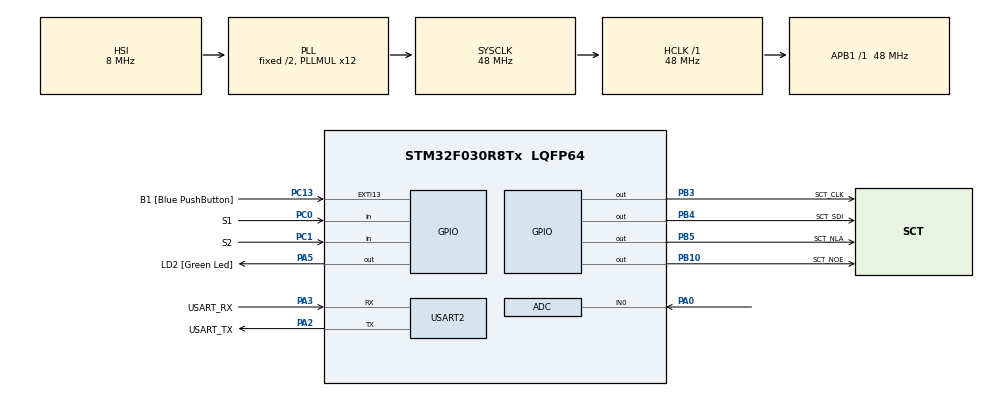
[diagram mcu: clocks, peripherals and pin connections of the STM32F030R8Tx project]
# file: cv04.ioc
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ADC.ContinuousConvMode=ENABLE
ADC.Overrun=ADC_OVR_DATA_OVERWRITTEN
ADC.SamplingTime=ADC_SAMPLETIME_239CYCLES_5
Mcu.Family=STM32F0
Mcu.Name=STM32F030R8Tx
Mcu.Package=LQFP64
NVIC.ADC1_IRQn=true\:0\:0\:false\:false\:true\:true\:true\:true
PA0.Mode=IN0
PA0.Signal=ADC_IN0
PA13.GPIO_Label=TMS
PA13.Mode=Serial_Wire
PA13.Signal=SYS_SWDIO
PA14.GPIO_Label=TCK
PA14.Mode=Serial_Wire
PA14.Signal=SYS_SWCLK
PA2.GPIO_Label=USART_TX
PA2.GPIO_Mode=GPIO_MODE_AF_PP
PA2.GPIO_PuPd=GPIO_NOPULL
PA2.GPIO_Speed=GPIO_SPEED_FREQ_LOW
PA2.Mode=Asynchronous
PA2.Signal=USART2_TX
PA3.GPIO_Label=USART_RX
PA3.GPIO_Mode=GPIO_MODE_AF_PP
PA3.GPIO_PuPd=GPIO_NOPULL
PA3.GPIO_Speed=GPIO_SPEED_FREQ_LOW
PA3.Mode=Asynchronous
PA3.Signal=USART2_RX
PA5.GPIO_Label=LD2 [Green Led]
PA5.GPIO_Mode=GPIO_MODE_OUTPUT_PP
PA5.GPIO_PuPd=GPIO_NOPULL
PA5.GPIO_Speed=GPIO_SPEED_FREQ_LOW
PA5.Signal=GPIO_Output
PB10.GPIO_Label=SCT_NOE
PB10.Signal=GPIO_Output
PB3.GPIO_Label=SCT_CLK
PB3.Signal=GPIO_Output
PB4.GPIO_Label=SCT_SDI
PB4.Signal=GPIO_Output
PB5.GPIO_Label=SCT_NLA
PB5.Signal=GPIO_Output
PC0.GPIO_Label=S1
PC0.GPIO_PuPd=GPIO_PULLUP
PC0.Signal=GPIO_Input
PC1.GPIO_Label=S2
PC1.GPIO_PuPd=GPIO_PULLUP
PC1.Signal=GPIO_Input
PC13.GPIO_Label=B1 [Blue PushButton]
PC13.GPIO_ModeDefaultEXTI=GPIO_MODE_IT_FALLING
PC13.Signal=GPXTI13
PC14-OSC32_IN.Mode=LSE-External-Oscillator
PC14-OSC32_IN.Signal=RCC_OSC32_IN
PC15-OSC32_OUT.Mode=LSE-External-Oscillator
PC15-OSC32_OUT.Signal=RCC_OSC32_OUT
PF0-OSC_IN.Mode=HSE-External-Clock-Source
PF0-OSC_IN.Signal=RCC_OSC_IN
PF1-OSC_OUT.Signal=RCC_OSC_OUT
ProjectManager.HeapSize=0x200
ProjectManager.StackSize=0x400
ProjectManager.TargetToolchain=STM32CubeIDE
RCC.AHBFreq_Value=48000000
RCC.APB1Freq_Value=48000000
RCC.APB1TimFreq_Value=48000000
RCC.HCLKFreq_Value=48000000
RCC.PLLMUL=RCC_PLL_MUL12
RCC.SYSCLKFreq_VALUE=48000000
RCC.SYSCLKSource=RCC_SYSCLKSOURCE_PLLCLK
USART2.VirtualMode-Asynchronous=VM_ASYNC
VP_ADC_TempSens_Input.Mode=IN-TempSens
VP_ADC_Vref_Input.Mode=IN-Vrefint
board=NUCLEO-F030R8

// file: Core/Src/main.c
/* USER CODE BEGIN Header */
/**
 ******************************************************************************
 * @file           : main.c
 * @brief          : Main program body
 ******************************************************************************
 * @attention
 *
 * Copyright (c) 2022 STMicroelectronics.
 * All rights reserved.
 *
 * This software is licensed under terms that can be found in the LICENSE file
 * in the root directory of this software component.
 * If no LICENSE file comes with this software, it is provided AS-IS.
 *
 ******************************************************************************
 */
/* USER CODE END Header */
#include "main.h"

/* USER CODE BEGIN Includes */
#include "sct.h"
/* USER CODE END Includes */

/* USER CODE BEGIN PD */
#define ADC_Q 12

/* Temperature sensor calibration value address */
#define TEMP110_CAL_ADDR ((uint16_t*) ((uint32_t) 0x1FFFF7C2))
#define TEMP30_CAL_ADDR ((uint16_t*) ((uint32_t) 0x1FFFF7B8))

/* Internal voltage reference calibration value address */
#define VREFINT_CAL_ADDR ((uint16_t*) ((uint32_t) 0x1FFFF7BA))

/* USER CODE END PD */

ADC_HandleTypeDef hadc;

UART_HandleTypeDef huart2;

void SystemClock_Config(void);
static void MX_GPIO_Init(void);
static void MX_USART2_UART_Init(void);
static void MX_ADC_Init(void);

/* USER CODE BEGIN 0 */
static volatile uint32_t raw_pot;
static volatile uint32_t raw_temp;
static volatile uint32_t raw_volt;
void HAL_ADC_ConvCpltCallback(ADC_HandleTypeDef* hadc)
{
//	raw_pot = HAL_ADC_GetValue(hadc);
	static uint32_t avg_pot = 0;
	static uint32_t channel;
	if (channel == 0){
		raw_pot = avg_pot >> ADC_Q;
		avg_pot -= raw_pot;
		avg_pot += HAL_ADC_GetValue(hadc);
	}
	else if (channel == 1){
		raw_temp = HAL_ADC_GetValue(hadc);
	}
	else if (channel == 2){
		raw_volt = HAL_ADC_GetValue(hadc);
	}
	if (__HAL_ADC_GET_FLAG(hadc, ADC_FLAG_EOS)) channel = 0;
	else channel++;

}
/* USER CODE END 0 */

int main(void)
{

	/* MCU Configuration--------------------------------------------------------*/

	/* Reset of all peripherals, Initializes the Flash interface and the Systick. */
	HAL_Init();

	/* Configure the system clock */
	SystemClock_Config();

	/* Initialize all configured peripherals */
	MX_GPIO_Init();
	MX_USART2_UART_Init();
	MX_ADC_Init();
	/* USER CODE BEGIN 2 */
	sct_init();
	HAL_ADCEx_Calibration_Start(&hadc);
	HAL_ADC_Start_IT(&hadc);

	/* USER CODE END 2 */

	/* Infinite loop */
	while (1)
	{

		/* USER CODE BEGIN 3 */
		/*
		sct_value((raw_pot*501/4096), (raw_pot*9/4096));
		HAL_Delay(50);
		 */
		static enum { SHOW_POT, SHOW_VOLT, SHOW_TEMP } state = SHOW_POT;

		if (HAL_GPIO_ReadPin(S1_GPIO_Port, S1_Pin)==0) {
			state = SHOW_VOLT;
		}
		if (HAL_GPIO_ReadPin(S2_GPIO_Port, S2_Pin)==0) {
			state = SHOW_TEMP;
		}

		switch (state) {
		case SHOW_POT: {
			sct_value((raw_pot*501/4096), (raw_pot*9/4096));

			break;
		}
		case SHOW_VOLT: {

			uint32_t voltage = 330 * (*VREFINT_CAL_ADDR) / raw_volt;

			sct_value(voltage, 1);
			break;
		}
		case SHOW_TEMP: {

			int32_t temperature = (raw_temp - (int32_t)(*TEMP30_CAL_ADDR));

			temperature = temperature * (int32_t)(110 - 30);
			temperature = temperature / (int32_t)(*TEMP110_CAL_ADDR - *TEMP30_CAL_ADDR);
			temperature = temperature + 30;

			sct_value(temperature, 2);
			break;
		}
		default:;

		}
		HAL_Delay(50);
		/* USER CODE END 3 */
	}
}

void SystemClock_Config(void)
{
	RCC_OscInitTypeDef RCC_OscInitStruct = {0};
	RCC_ClkInitTypeDef RCC_ClkInitStruct = {0};

	/** Initializes the RCC Oscillators according to the specified parameters
	 * in the RCC_OscInitTypeDef structure.
	 */
	RCC_OscInitStruct.OscillatorType = RCC_OSCILLATORTYPE_HSI|RCC_OSCILLATORTYPE_HSI14;
	RCC_OscInitStruct.HSIState = RCC_HSI_ON;
	RCC_OscInitStruct.HSI14State = RCC_HSI14_ON;
	RCC_OscInitStruct.HSICalibrationValue = RCC_HSICALIBRATION_DEFAULT;
	RCC_OscInitStruct.HSI14CalibrationValue = 16;
	RCC_OscInitStruct.PLL.PLLState = RCC_PLL_ON;
	RCC_OscInitStruct.PLL.PLLSource = RCC_PLLSOURCE_HSI;
	RCC_OscInitStruct.PLL.PLLMUL = RCC_PLL_MUL12;
	RCC_OscInitStruct.PLL.PREDIV = RCC_PREDIV_DIV1;
	if (HAL_RCC_OscConfig(&RCC_OscInitStruct) != HAL_OK)
	{
		Error_Handler();
	}

	/** Initializes the CPU, AHB and APB buses clocks
	 */
	RCC_ClkInitStruct.ClockType = RCC_CLOCKTYPE_HCLK|RCC_CLOCKTYPE_SYSCLK
			|RCC_CLOCKTYPE_PCLK1;
	RCC_ClkInitStruct.SYSCLKSource = RCC_SYSCLKSOURCE_PLLCLK;
	RCC_ClkInitStruct.AHBCLKDivider = RCC_SYSCLK_DIV1;
	RCC_ClkInitStruct.APB1CLKDivider = RCC_HCLK_DIV1;

	if (HAL_RCC_ClockConfig(&RCC_ClkInitStruct, FLASH_LATENCY_1) != HAL_OK)
	{
		Error_Handler();
	}
}

static void MX_ADC_Init(void)
{

	ADC_ChannelConfTypeDef sConfig = {0};

	/** Configure the global features of the ADC (Clock, Resolution, Data Alignment and number of conversion)
	 */
	hadc.Instance = ADC1;
	hadc.Init.ClockPrescaler = ADC_CLOCK_ASYNC_DIV1;
	hadc.Init.Resolution = ADC_RESOLUTION_12B;
	hadc.Init.DataAlign = ADC_DATAALIGN_RIGHT;
	hadc.Init.ScanConvMode = ADC_SCAN_DIRECTION_FORWARD;
	hadc.Init.EOCSelection = ADC_EOC_SINGLE_CONV;
	hadc.Init.LowPowerAutoWait = DISABLE;
	hadc.Init.LowPowerAutoPowerOff = DISABLE;
	hadc.Init.ContinuousConvMode = ENABLE;
	hadc.Init.DiscontinuousConvMode = DISABLE;
	hadc.Init.ExternalTrigConv = ADC_SOFTWARE_START;
	hadc.Init.ExternalTrigConvEdge = ADC_EXTERNALTRIGCONVEDGE_NONE;
	hadc.Init.DMAContinuousRequests = DISABLE;
	hadc.Init.Overrun = ADC_OVR_DATA_OVERWRITTEN;
	if (HAL_ADC_Init(&hadc) != HAL_OK)
	{
		Error_Handler();
	}

	/** Configure for the selected ADC regular channel to be converted.
	 */
	sConfig.Channel = ADC_CHANNEL_0;
	sConfig.Rank = ADC_RANK_CHANNEL_NUMBER;
	sConfig.SamplingTime = ADC_SAMPLETIME_239CYCLES_5;
	if (HAL_ADC_ConfigChannel(&hadc, &sConfig) != HAL_OK)
	{
		Error_Handler();
	}

	/** Configure for the selected ADC regular channel to be converted.
	 */
	sConfig.Channel = ADC_CHANNEL_TEMPSENSOR;
	if (HAL_ADC_ConfigChannel(&hadc, &sConfig) != HAL_OK)
	{
		Error_Handler();
	}

	/** Configure for the selected ADC regular channel to be converted.
	 */
	sConfig.Channel = ADC_CHANNEL_VREFINT;
	if (HAL_ADC_ConfigChannel(&hadc, &sConfig) != HAL_OK)
	{
		Error_Handler();
	}

}

static void MX_USART2_UART_Init(void)
{

	huart2.Instance = USART2;
	huart2.Init.BaudRate = 38400;
	huart2.Init.WordLength = UART_WORDLENGTH_8B;
	huart2.Init.StopBits = UART_STOPBITS_1;
	huart2.Init.Parity = UART_PARITY_NONE;
	huart2.Init.Mode = UART_MODE_TX_RX;
	huart2.Init.HwFlowCtl = UART_HWCONTROL_NONE;
	huart2.Init.OverSampling = UART_OVERSAMPLING_16;
	huart2.Init.OneBitSampling = UART_ONE_BIT_SAMPLE_DISABLE;
	huart2.AdvancedInit.AdvFeatureInit = UART_ADVFEATURE_NO_INIT;
	if (HAL_UART_Init(&huart2) != HAL_OK)
	{
		Error_Handler();
	}

}

static void MX_GPIO_Init(void)
{
	GPIO_InitTypeDef GPIO_InitStruct = {0};

	/* GPIO Ports Clock Enable */
	__HAL_RCC_GPIOC_CLK_ENABLE();
	__HAL_RCC_GPIOF_CLK_ENABLE();
	__HAL_RCC_GPIOA_CLK_ENABLE();
	__HAL_RCC_GPIOB_CLK_ENABLE();

	/*Configure GPIO pin Output Level */
	HAL_GPIO_WritePin(GPIOA, GPIO_PIN_5, GPIO_PIN_RESET);

	/*Configure GPIO pin Output Level */
	HAL_GPIO_WritePin(GPIOB, GPIO_PIN_10|GPIO_PIN_3|GPIO_PIN_4|GPIO_PIN_5, GPIO_PIN_RESET);

	/*Configure GPIO pin : PC13 */
	GPIO_InitStruct.Pin = GPIO_PIN_13;
	GPIO_InitStruct.Mode = GPIO_MODE_IT_FALLING;
	GPIO_InitStruct.Pull = GPIO_NOPULL;
	HAL_GPIO_Init(GPIOC, &GPIO_InitStruct);

	/*Configure GPIO pins : PC0 PC1 */
	GPIO_InitStruct.Pin = GPIO_PIN_0|GPIO_PIN_1;
	GPIO_InitStruct.Mode = GPIO_MODE_INPUT;
	GPIO_InitStruct.Pull = GPIO_PULLUP;
	HAL_GPIO_Init(GPIOC, &GPIO_InitStruct);

	/*Configure GPIO pin : PA5 */
	GPIO_InitStruct.Pin = GPIO_PIN_5;
	GPIO_InitStruct.Mode = GPIO_MODE_OUTPUT_PP;
	GPIO_InitStruct.Pull = GPIO_NOPULL;
	GPIO_InitStruct.Speed = GPIO_SPEED_FREQ_LOW;
	HAL_GPIO_Init(GPIOA, &GPIO_InitStruct);

	/*Configure GPIO pins : PB10 PB3 PB4 PB5 */
	GPIO_InitStruct.Pin = GPIO_PIN_10|GPIO_PIN_3|GPIO_PIN_4|GPIO_PIN_5;
	GPIO_InitStruct.Mode = GPIO_MODE_OUTPUT_PP;
	GPIO_InitStruct.Pull = GPIO_NOPULL;
	GPIO_InitStruct.Speed = GPIO_SPEED_FREQ_LOW;
	HAL_GPIO_Init(GPIOB, &GPIO_InitStruct);

}

void Error_Handler(void)
{
	__disable_irq();
	while (1)
	{
	}
}
